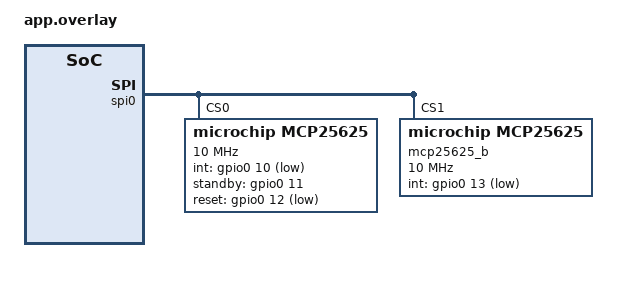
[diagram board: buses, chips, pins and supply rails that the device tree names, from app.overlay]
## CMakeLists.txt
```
# Copyright (c) 2026 CANBusRP2040 contributors
# SPDX-License-Identifier: Apache-2.0

cmake_minimum_required(VERSION 3.20.0)

find_package(Zephyr REQUIRED HINTS $ENV{ZEPHYR_BASE})
project(slcan_uart_test)

target_sources(app PRIVATE src/main.c)
```

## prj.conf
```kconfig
CONFIG_ZTEST=y
CONFIG_CAN=y
CONFIG_EMUL=y
CONFIG_GPIO=y
CONFIG_SPI=y
CONFIG_SERIAL=y
CONFIG_UART_INTERRUPT_DRIVEN=y
CONFIG_UART_EMUL=y
CONFIG_SLCAN=y
CONFIG_SLCAN_UART=y
CONFIG_LOG=y
CONFIG_ZTEST_THREAD_PRIORITY=0
```

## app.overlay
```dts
/*
 * Copyright (c) 2026 CANBusRP2040 contributors
 *
 * SPDX-License-Identifier: Apache-2.0
 */

#include <zephyr/dt-bindings/gpio/gpio.h>

/ {
	chosen {
		zephyr,canbus = &mcp25625;
	};
};

&spi0 {
	mcp25625: can@0 {
		compatible = "microchip,mcp25625";
		reg = <0>;
		spi-max-frequency = <10000000>;
		osc-freq = <16000000>;
		int-gpios = <&gpio0 10 GPIO_ACTIVE_LOW>;
		standby-gpios = <&gpio0 11 GPIO_ACTIVE_HIGH>;
		reset-gpios = <&gpio0 12 GPIO_ACTIVE_LOW>;
		bitrate = <1000000>;
	};

	/* Second controller for the multi-instance test */
	mcp25625_b: can@1 {
		compatible = "microchip,mcp25625";
		reg = <1>;
		spi-max-frequency = <10000000>;
		osc-freq = <16000000>;
		int-gpios = <&gpio0 13 GPIO_ACTIVE_LOW>;
		bitrate = <500000>;
	};
};

/ {
	euart0: uart-emul0 {
		compatible = "zephyr,uart-emul";
		status = "okay";
		tx-fifo-size = <2048>;
		rx-fifo-size = <256>;
	};

	euart1: uart-emul1 {
		compatible = "zephyr,uart-emul";
		status = "okay";
		tx-fifo-size = <256>;
		rx-fifo-size = <256>;
	};
};
```

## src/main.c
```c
/*
 * Copyright (c) 2026 CANBusRP2040 contributors
 *
 * SPDX-License-Identifier: Apache-2.0
 *
 * End-to-end test of the slcan UART transport: UART emulator <-> slcan
 * thread <-> MCP25625 driver <-> MCP25625 emulator.
 */

#include <string.h>

#include <zephyr/drivers/can.h>
#include <zephyr/drivers/emul.h>
#include <zephyr/drivers/serial/uart_emul.h>
#include <zephyr/kernel.h>
#include <zephyr/ztest.h>

#include <canbus_rp2040/drivers/can/mcp25625_emul.h>
#include <canbus_rp2040/slcan.h>

#define MCP25625_NODE DT_NODELABEL(mcp25625)

static const struct device *const can_dev = DEVICE_DT_GET(MCP25625_NODE);
static const struct emul *const can_emul = EMUL_DT_GET(MCP25625_NODE);
static const struct device *const uart_dev = DEVICE_DT_GET(DT_NODELABEL(euart0));
static const struct device *const uart_b_dev = DEVICE_DT_GET(DT_NODELABEL(euart1));
static const struct device *const can_b_dev = DEVICE_DT_GET(DT_NODELABEL(mcp25625_b));

static atomic_t rx_events;

static void event_cb(enum slcan_event event, void *user_data)
{
	ARG_UNUSED(user_data);

	if (event == SLCAN_EVENT_RX) {
		atomic_inc(&rx_events);
	}
}

static void host_write(const char *str)
{
	zassert_equal(uart_emul_put_rx_data(uart_dev, (const uint8_t *)str, strlen(str)),
		      strlen(str));
}

/* Collect host-bound output until it matches or the timeout expires */
static void host_expect(const char *expected)
{
	char buf[512] = {0};
	size_t len = 0;
	int64_t deadline = k_uptime_get() + 500;

	while (len < strlen(expected) && k_uptime_get() < deadline) {
		len += uart_emul_get_tx_data(uart_dev, (uint8_t *)&buf[len], sizeof(buf) - 1 - len);
		k_msleep(1);
	}

	zassert_str_equal(buf, expected, "got \"%s\"", buf);
}

static void *slcan_uart_setup(void)
{
	zassert_true(device_is_ready(uart_dev));
	zassert_ok(slcan_uart_start(uart_dev, can_dev, event_cb, NULL));
	zassert_equal(slcan_uart_start(uart_dev, can_dev, NULL, NULL), -EALREADY);

	return NULL;
}

ZTEST(slcan_uart, test_end_to_end)
{
	const struct can_frame rx = {
		.id = 0x0204B401,
		.flags = CAN_FRAME_IDE,
		.dlc = 4,
		.data = {1, 2, 3, 4},
	};
	struct can_frame tx;

	host_write("V\r");
	host_expect("V0101\r");

	/* Commands split across writes are reassembled */
	host_write("S8\rO");
	host_write("\rt12");
	host_write("31AB\r");
	host_expect("\r\r\r");

	k_msleep(10);
	zassert_ok(mcp25625_emul_get_tx_frame(can_emul, &tx));
	zassert_equal(tx.id, 0x123);
	zassert_equal(tx.dlc, 1);
	zassert_equal(tx.data[0], 0xAB);

	zassert_ok(mcp25625_emul_rx_frame(can_emul, &rx));
	host_expect("T0204B401401020304\r");
	zassert_equal(atomic_get(&rx_events), 1);

	/* Many frames in a row */
	for (int i = 0; i < 20; i++) {
		struct can_frame f = {.id = 0x200 + i, .dlc = 0};

		zassert_ok(mcp25625_emul_rx_frame(can_emul, &f));
		k_msleep(1);
	}

	host_expect("t2000\rt2010\rt2020\rt2030\rt2040\rt2050\rt2060\rt2070\rt2080\rt2090\r"
		    "t20A0\rt20B0\rt20C0\rt20D0\rt20E0\rt20F0\rt2100\rt2110\rt2120\rt2130\r");

	host_write("C\r");
	host_expect("\r");
}

ZTEST(slcan_uart, test_instances)
{
#if CONFIG_SLCAN_UART_INSTANCES == 1
	zassert_equal(slcan_uart_start(uart_b_dev, can_b_dev, NULL, NULL), -ENOMEM);
#else
	char buf[16] = {0};
	size_t len = 0;
	int64_t deadline;

	/* A second UART bridges a second CAN controller */
	zassert_ok(slcan_uart_start(uart_b_dev, can_b_dev, NULL, NULL));
	zassert_equal(slcan_uart_start(uart_b_dev, can_b_dev, NULL, NULL), -EALREADY);

	zassert_equal(uart_emul_put_rx_data(uart_b_dev, (const uint8_t *)"S6\rO\rV\rC\r", 9), 9);
	deadline = k_uptime_get() + 500;
	while (len < 9 && k_uptime_get() < deadline) {
		len += uart_emul_get_tx_data(uart_b_dev, (uint8_t *)&buf[len],
					     sizeof(buf) - 1 - len);
		k_msleep(1);
	}
	zassert_str_equal(buf, "\r\rV0101\r\r");

	/* The first instance is unaffected */
	host_write("V\r");
	host_expect("V0101\r");
#endif
}

ZTEST_SUITE(slcan_uart, NULL, slcan_uart_setup, NULL, NULL, NULL);
```
